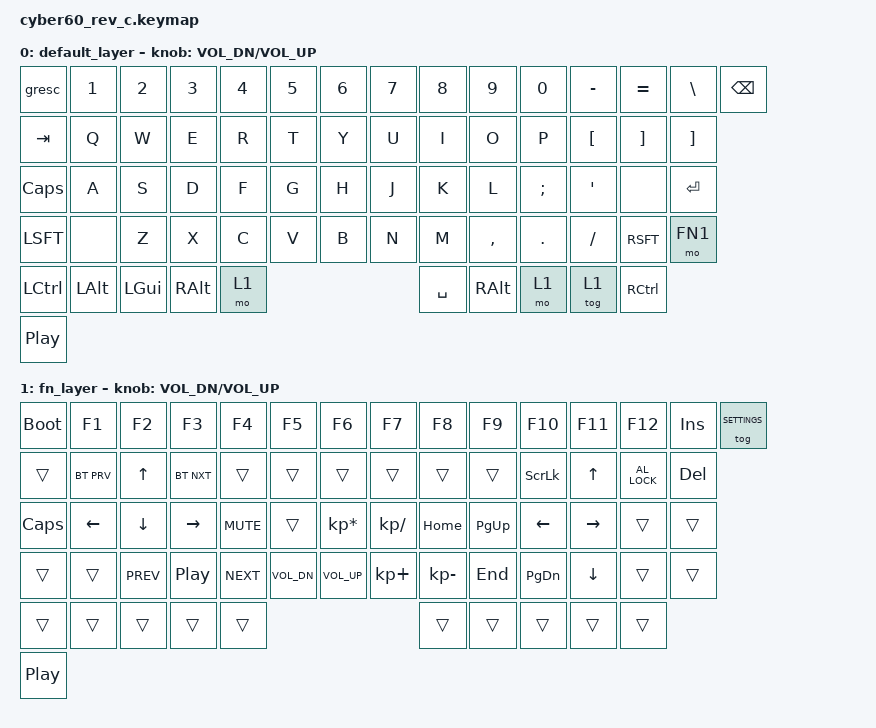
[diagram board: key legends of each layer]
#include <behaviors.dtsi>
#include <dt-bindings/zmk/keys.h>
#include <dt-bindings/zmk/bt.h>
#include <dt-bindings/zmk/outputs.h>
#include <dt-bindings/zmk/rgb.h>
#include <dt-bindings/zmk/ext_power.h>

#define FN1 4
#define SETTINGS 3
/ {
	keymap {
		compatible = "zmk,keymap";
		default_layer {
// Base layer with gui at backspace position
// ------------------------------------------------------------------------------------------
// | ESC |  1  |  2  |  3  |  4  |  5  |  6  |  7  |  8  |  9  |  0  |  -  |  =  | "|" |BKSP|
// |  TAB | Q |  W  |  E  |  R  |  T  |  Y  |  U  |  I  |  O  |  P  |  [  |  ]  |    \      |
// | CAPS  |  A  |  S  |  D  |  F  |  G  |  H  |  J  |  K  |  L  |  ;  |  '  |none|  ENTER  |
// | SHIFT |none| Z |  X  |  C  |  V  |  B  |  N  |  M  |  ,  |  .  |  /  |    Shift   | FN |
// |  LCTL  |      LALT     |      LGUI     |     SPACE     |       mo1     | tog1  | RCTRL |
// | Rotary | (<-- Rotary switch) ----------------------------------------------------------- 
			bindings = <
	&gresc		 &kp NUM_1 	&kp NUM_2	&kp NUM_3 	&kp NUM_4 &kp NUM_5 &kp NUM_6 	&kp NUM_7 	&kp NUM_8 &kp NUM_9	&kp NUM_0	&kp MINUS	&kp EQL  	&kp BSLH	&kp BKSP
	&kp TAB &kp   Q   	&kp   W   	&kp   E   	&kp   R   &kp   T   &kp   Y   	&kp   U   	&kp   I   &kp   O   &kp   P   	&kp LBKT 	&kp RBKT	&kp RBKT
	&kp CAPS 	 &kp   A   	&kp   S   	&kp   D   	&kp   F   &kp   G   &kp   H   	&kp   J   	&kp   K   &kp   L   &kp  SCLN  	&kp  QUOT   &none		&kp RET
	&kp LSFT 	 &none		&kp   Z   	&kp   X   	&kp   C   &kp   V   &kp   B   	&kp   N   	&kp   M   &kp  CMMA &kp  DOT  	&kp  FSLH	&kp RSFT 	&mo FN1
	&kp LCTL 	 &kp LALT   &kp LGUI				&kp RALT			&mo 1		&kp  SPC  	&kp  RALT			&mo 1 	&tog 1	&kp  RCTL	
	&kp C_PP	
			>;
			sensor-bindings = <&inc_dec_kp C_VOL_DN C_VOL_UP>;
		};
		
		fn_layer {
// Function layer
// ------------------------------------------------------------------------------------------
// | BOOT |  F1 |  F2 |  F3 |  F4 |  F5 |  F6 |  F7 |  F8 |  F9 | F10 | F11 | F12 |INS | RST|
// | TAB  |BTPRV|  UP |BTNXT| TOG0| TOG1| TOG2| BT3 | BT4 | PRNT| SLCKL | UP  | LOCK |  DEL |
// | CAPS  |LEFT |DOWN |RIGHT|MUTE |  G  |  *  |  /  | HOME| PGUP| LEFT|RIGHT|none|  ENTER  |
// | SHIFT |none|PRV|PLAYP|NEXT | VOLD| VOLU|  +  |  -  | END | PGDN| DOWN|    Shift   | FN |
// |  LCTL  |  LGUI  |  LWIN  |  RALT  | FN |     SPACE     |  RALT |  RWIN | RMENU | RCTRL |
// | Rotary | (<-- Rotary switch) ----------------------------------------------------------- 
			bindings = <
	&bootloader 	&kp F1		&kp F2 	 		&kp F3			&kp F4			&kp F5			&kp F6			&kp F7			&kp F8			&kp F9			&kp F10		&kp F11		&kp F12			&kp INS	&tog SETTINGS
	&trans			&bt BT_PRV  &kp UP   		&bt BT_NXT		&trans			&trans			&trans			&trans			&trans			&trans			&kp SLCK	&kp UP		&kp C_AL_LOCK	&kp DEL
	&kp CLCK 		&kp LEFT   	&kp DOWN		&kp RIGHT		&kp K_MUTE		&trans			&kp KP_ASTERISK	&kp KP_SLASH	&kp HOME		&kp PG_UP		&kp LEFT	&kp RIGHT	&trans		&trans
	&trans 			&trans   	&kp C_PREV   	&kp C_PP	 	&kp C_NEXT 		&kp C_VOL_DN	&kp C_VOL_UP	&kp KP_PLUS		&kp KP_MINUS	&kp END			&kp PG_DN	&kp DOWN	&trans 		&trans
	&trans 			&trans   	&trans             				&trans			&trans			&trans  		&trans  		&trans			&trans			&trans		
	&kp C_PP
			>;
			sensor-bindings = <&inc_dec_kp C_VOL_DN C_VOL_UP>;
		};
	};
};
